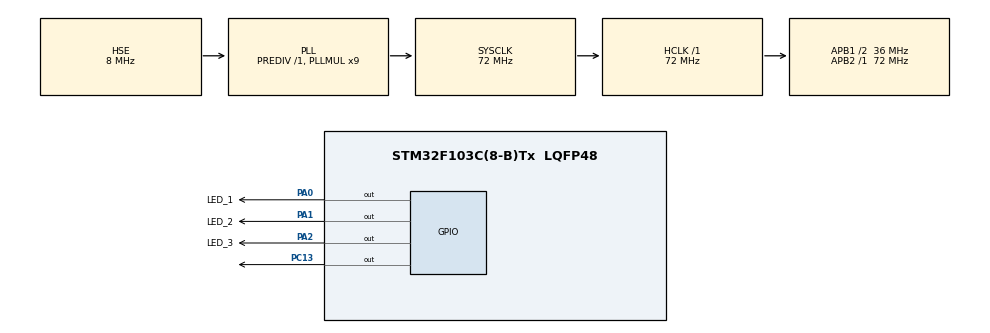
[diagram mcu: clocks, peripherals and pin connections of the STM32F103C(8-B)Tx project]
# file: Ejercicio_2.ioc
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Mcu.Family=STM32F1
Mcu.Name=STM32F103C(8-B)Tx
Mcu.Package=LQFP48
NVIC.PriorityGroup=NVIC_PRIORITYGROUP_4
NVIC.TIM2_IRQn=true\:0\:0\:false\:false\:true\:true\:true\:true
PA0-WKUP.GPIO_Label=LED_1
PA0-WKUP.Signal=GPIO_Output
PA1.GPIO_Label=LED_2
PA1.Signal=GPIO_Output
PA13.Mode=Serial_Wire
PA13.Signal=SYS_JTMS-SWDIO
PA14.Mode=Serial_Wire
PA14.Signal=SYS_JTCK-SWCLK
PA2.GPIO_Label=LED_3
PA2.Signal=GPIO_Output
PC13-TAMPER-RTC.Signal=GPIO_Output
PD0-OSC_IN.Mode=HSE-External-Oscillator
PD0-OSC_IN.Signal=RCC_OSC_IN
PD1-OSC_OUT.Mode=HSE-External-Oscillator
PD1-OSC_OUT.Signal=RCC_OSC_OUT
ProjectManager.HeapSize=0x200
ProjectManager.StackSize=0x400
ProjectManager.TargetToolchain=STM32CubeIDE
RCC.AHBFreq_Value=72000000
RCC.APB1CLKDivider=RCC_HCLK_DIV2
RCC.APB1Freq_Value=36000000
RCC.APB1TimFreq_Value=72000000
RCC.APB2Freq_Value=72000000
RCC.APB2TimFreq_Value=72000000
RCC.HCLKFreq_Value=72000000
RCC.PLLMUL=RCC_PLL_MUL9
RCC.PLLSourceVirtual=RCC_PLLSOURCE_HSE
RCC.SYSCLKFreq_VALUE=72000000
RCC.SYSCLKSource=RCC_SYSCLKSOURCE_PLLCLK
RCC.USBFreq_Value=72000000
TIM2.AutoReloadPreload=TIM_AUTORELOAD_PRELOAD_ENABLE
TIM2.Period=2000
TIM2.Prescaler=7200-1
VP_TIM2_VS_ClockSourceINT.Mode=Internal
board=custom

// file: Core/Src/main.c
/* USER CODE BEGIN Header */
/**
  ******************************************************************************
  * @file           : main.c
  * @brief          : Main program body
  ******************************************************************************
  * @attention
  *
  * Copyright (c) 2024 STMicroelectronics.
  * All rights reserved.
  *
  * This software is licensed under terms that can be found in the LICENSE file
  * in the root directory of this software component.
  * If no LICENSE file comes with this software, it is provided AS-IS.
  *
  ******************************************************************************
  */
/* USER CODE END Header */
#include "main.h"
#include "tim.h"
#include "gpio.h"

/* USER CODE BEGIN PV */
uint8_t counter = 0;
/* USER CODE END PV */

void SystemClock_Config(void);

int main(void)
{

  /* MCU Configuration--------------------------------------------------------*/

  /* Reset of all peripherals, Initializes the Flash interface and the Systick. */
  HAL_Init();

  /* Configure the system clock */
  SystemClock_Config();

  /* Initialize all configured peripherals */
  MX_GPIO_Init();
  MX_TIM2_Init();
  /* USER CODE BEGIN 2 */
  HAL_TIM_Base_Start_IT(&htim2);
  /* USER CODE END 2 */

  /* Infinite loop */
  /* USER CODE BEGIN WHILE */
  while (1)
  {
	  if (counter == 0) // inicio tiempo = 0ms
	  {
		  HAL_GPIO_WritePin(GPIOA, LED_1_Pin, GPIO_PIN_SET);//encendemos el LED_1
	  }

	  else if (counter == 1) //tiempo = 200ms
	  {
		  HAL_GPIO_WritePin(GPIOA, LED_1_Pin, GPIO_PIN_RESET);//apagamos LED_1
		  HAL_GPIO_WritePin(GPIOA, LED_2_Pin, GPIO_PIN_SET);//encendemos el LED_2
	  }
	  else if (counter == 2)
	  {
		  HAL_GPIO_WritePin(GPIOA, LED_2_Pin, GPIO_PIN_RESET);//apagamos LED_3
		  HAL_GPIO_WritePin(GPIOA, LED_3_Pin, GPIO_PIN_SET);//encendemos el LED_3
	  }

	  else if (counter > 2)
	  {
		  counter = 0;
		  HAL_GPIO_WritePin(GPIOA, LED_3_Pin, GPIO_PIN_RESET);//apagamos LED_3
	  }

    /* USER CODE END WHILE */

  }
}

void SystemClock_Config(void)
{
  RCC_OscInitTypeDef RCC_OscInitStruct = {0};
  RCC_ClkInitTypeDef RCC_ClkInitStruct = {0};

  /** Initializes the RCC Oscillators according to the specified parameters
  * in the RCC_OscInitTypeDef structure.
  */
  RCC_OscInitStruct.OscillatorType = RCC_OSCILLATORTYPE_HSE;
  RCC_OscInitStruct.HSEState = RCC_HSE_ON;
  RCC_OscInitStruct.HSEPredivValue = RCC_HSE_PREDIV_DIV1;
  RCC_OscInitStruct.HSIState = RCC_HSI_ON;
  RCC_OscInitStruct.PLL.PLLState = RCC_PLL_ON;
  RCC_OscInitStruct.PLL.PLLSource = RCC_PLLSOURCE_HSE;
  RCC_OscInitStruct.PLL.PLLMUL = RCC_PLL_MUL9;
  if (HAL_RCC_OscConfig(&RCC_OscInitStruct) != HAL_OK)
  {
    Error_Handler();
  }

  /** Initializes the CPU, AHB and APB buses clocks
  */
  RCC_ClkInitStruct.ClockType = RCC_CLOCKTYPE_HCLK|RCC_CLOCKTYPE_SYSCLK
                              |RCC_CLOCKTYPE_PCLK1|RCC_CLOCKTYPE_PCLK2;
  RCC_ClkInitStruct.SYSCLKSource = RCC_SYSCLKSOURCE_PLLCLK;
  RCC_ClkInitStruct.AHBCLKDivider = RCC_SYSCLK_DIV1;
  RCC_ClkInitStruct.APB1CLKDivider = RCC_HCLK_DIV2;
  RCC_ClkInitStruct.APB2CLKDivider = RCC_HCLK_DIV1;

  if (HAL_RCC_ClockConfig(&RCC_ClkInitStruct, FLASH_LATENCY_2) != HAL_OK)
  {
    Error_Handler();
  }
}

/* USER CODE BEGIN 4 */
void HAL_TIM_PeriodElapsedCallback(TIM_HandleTypeDef *htim)
{
  if(htim->Instance == TIM2)
  {
	  counter ++;//incrementamos cada 200ms el contador
  }
}

/* USER CODE END 4 */

void Error_Handler(void)
{
  __disable_irq();
  while (1)
  {
  }
}
